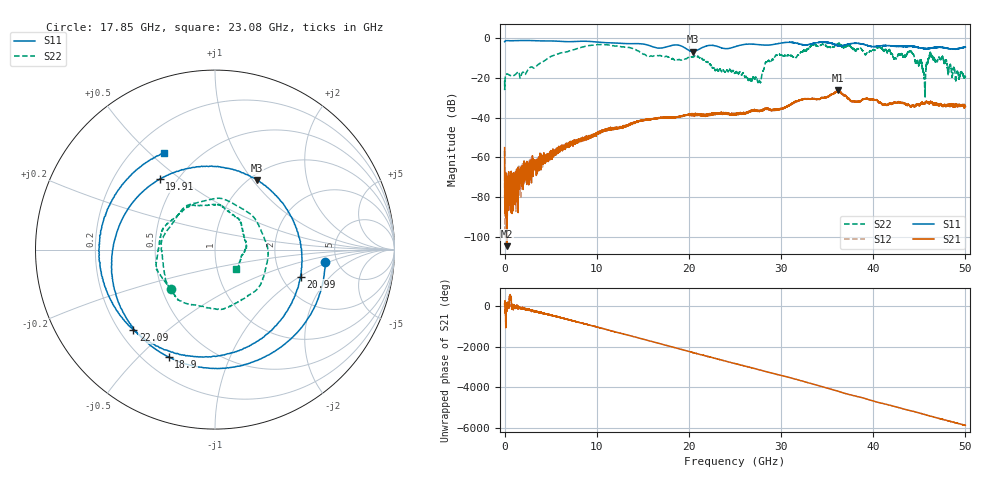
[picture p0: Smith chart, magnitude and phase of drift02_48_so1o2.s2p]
!Created with skrf (http://scikit-rf.org).
# Hz S RI R 50.0
!freq ReS11 ImS11 ReS21 ImS21 ReS12 ImS12 ReS22 ImS22
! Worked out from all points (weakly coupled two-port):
!   10001 points, 300 kHz to 50 GHz, reference 50 ohm
!   highest |S21| = -26.27 dB at 36.14 GHz (marker M1); lowest = -104.5 dB at 275.3 MHz (marker M2)
!   lowest |S11| = -6.9 dB at 20.4 GHz (marker M3), VSWR 2.64, Z = 54 + j52.3 ohm
!   |S11| at or under -10 dB: nowhere
!   |S22| runs from -29.7 to -2.6 dB; largest |S21 - S12| = 0.0052
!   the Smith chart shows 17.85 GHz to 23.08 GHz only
!   S11 on the Smith chart (normalised r, x): 17.85 GHz: 4.03, -0.87; 18.9 GHz: 0.30, -0.62; 19.91 GHz: 0.40, +0.42; 20.99 GHz: 2.53, -1.02; 22.09 GHz: 0.26, -0.39; 23.08 GHz: 0.32, +0.56
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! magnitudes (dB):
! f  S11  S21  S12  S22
! 300 kHz  -2.1  -55.1  -56.6  -21.6
! 275.3 MHz  -1.4  -104.5  -95.8  -18.2
! 8.335 GHz  -1.7  -51.6  -51.5  -4.7
! 16.67 GHz  -5.2  -40.4  -40.4  -9.0
! 17.85 GHz  -4.2  -40.1  -40.1  -9.6
! 18.9 GHz  -3.7  -39.6  -39.6  -10.9
! 19.91 GHz  -6.0  -38.5  -38.7  -9.9
! 20.4 GHz  -6.9  -38.6  -38.2  -9.7
! 20.99 GHz  -6.0  -38.8  -38.7  -9.3
! 22.09 GHz  -3.9  -38.6  -38.6  -12.6
! 23.08 GHz  -4.3  -37.9  -38.1  -15.8
! 25 GHz  -4.5  -38.6  -38.3  -17.8
! 27.62 GHz  -3.5  -36.6  -36.5  -21.6
! 28.43 GHz  -3.7  -35.5  -35.6  -12.2
! 29.54 GHz  -3.0  -35.9  -36.1  -8.8
! 33.34 GHz  -3.0  -30.6  -30.6  -3.8
! 36.14 GHz  -3.9  -26.3  -27.0  -3.0
! 41.67 GHz  -3.9  -33.4  -33.5  -6.0
! 44.13 GHz  -4.2  -34.3  -34.5  -7.1
! 45.5 GHz  -5.3  -32.8  -33.1  -18.5
! 46.28 GHz  -5.2  -32.4  -32.0  -8.5
! 50 GHz  -4.7  -34.5  -34.8  -19.9
